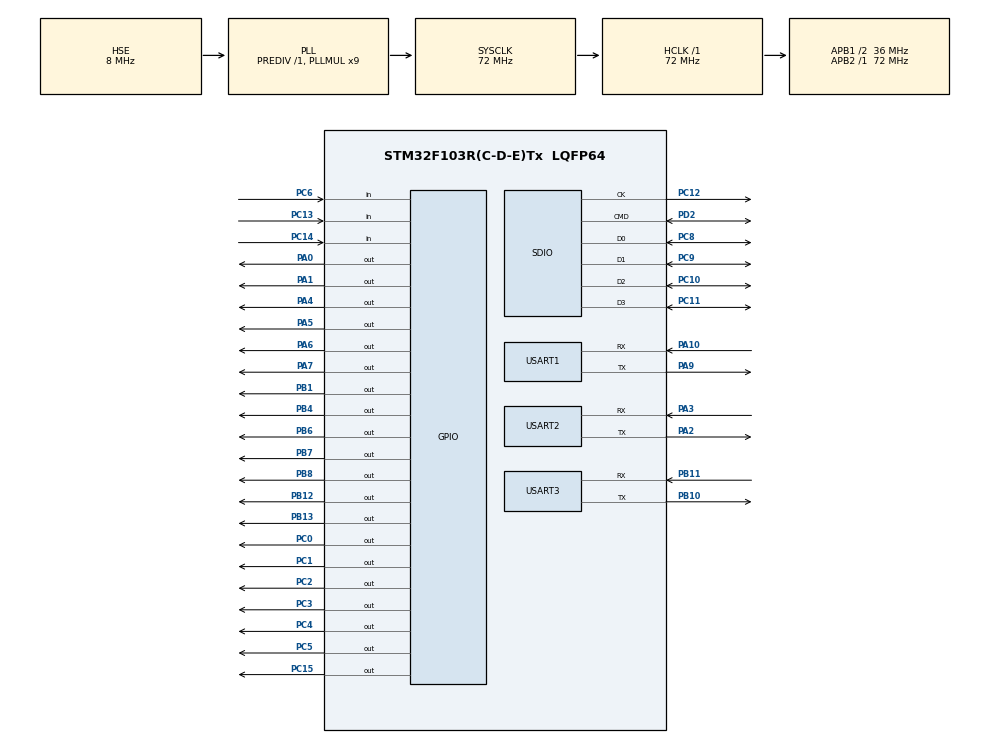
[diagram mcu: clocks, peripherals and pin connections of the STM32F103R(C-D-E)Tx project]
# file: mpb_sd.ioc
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Dma.Request0=SDIO
Dma.SDIO.0.Direction=DMA_PERIPH_TO_MEMORY
Dma.SDIO.0.Instance=DMA2_Channel4
Dma.SDIO.0.MemDataAlignment=DMA_MDATAALIGN_WORD
Dma.SDIO.0.MemInc=DMA_MINC_ENABLE
Dma.SDIO.0.Mode=DMA_CIRCULAR
Dma.SDIO.0.PeriphDataAlignment=DMA_PDATAALIGN_WORD
Dma.SDIO.0.PeriphInc=DMA_PINC_DISABLE
Dma.SDIO.0.Priority=DMA_PRIORITY_LOW
FATFS.BSP.number=1
FATFS._CODE_PAGE=936
FATFS._USE_LFN=2
FATFS0.BSP.STBoard=false
FATFS0.BSP.api=Unknown
FATFS0.BSP.i2caddr=0
FATFS0.BSP.instance=PC6
FATFS0.BSP.ip=GPIO
FATFS0.BSP.mode=Input
FATFS0.BSP.name=Detect_SDIO
FATFS0.BSP.solution=PC6
Mcu.Family=STM32F1
Mcu.Name=STM32F103R(C-D-E)Tx
Mcu.Package=LQFP64
NVIC.DMA2_Channel4_5_IRQn=true\:2\:0\:true\:false\:true\:false\:true
NVIC.PriorityGroup=NVIC_PRIORITYGROUP_4
NVIC.SDIO_IRQn=true\:0\:0\:false\:false\:true\:true\:true
PA0-WKUP.GPIO_Speed=GPIO_SPEED_FREQ_HIGH
PA0-WKUP.PinState=GPIO_PIN_RESET
PA0-WKUP.Signal=GPIO_Output
PA1.GPIO_Speed=GPIO_SPEED_FREQ_HIGH
PA1.Signal=GPIO_Output
PA10.Mode=Asynchronous
PA10.Signal=USART1_RX
PA13.Mode=Serial_Wire
PA13.Signal=SYS_JTMS-SWDIO
PA14.Mode=Serial_Wire
PA14.Signal=SYS_JTCK-SWCLK
PA2.Mode=Asynchronous
PA2.Signal=USART2_TX
PA3.Mode=Asynchronous
PA3.Signal=USART2_RX
PA4.GPIO_Speed=GPIO_SPEED_FREQ_HIGH
PA4.Signal=GPIO_Output
PA5.GPIO_Speed=GPIO_SPEED_FREQ_HIGH
PA5.Signal=GPIO_Output
PA6.GPIO_Speed=GPIO_SPEED_FREQ_HIGH
PA6.Signal=GPIO_Output
PA7.GPIO_Speed=GPIO_SPEED_FREQ_HIGH
PA7.Signal=GPIO_Output
PA9.Mode=Asynchronous
PA9.Signal=USART1_TX
PB1.Signal=GPIO_Output
PB10.Mode=Asynchronous
PB10.Signal=USART3_TX
PB11.Mode=Asynchronous
PB11.Signal=USART3_RX
PB12.Signal=GPIO_Output
PB13.Signal=GPIO_Output
PB4.Signal=GPIO_Output
PB6.Signal=GPIO_Output
PB7.Signal=GPIO_Output
PB8.GPIO_Speed=GPIO_SPEED_FREQ_HIGH
PB8.PinState=GPIO_PIN_RESET
PB8.Signal=GPIO_Output
PC0.Signal=GPIO_Output
PC1.Signal=GPIO_Output
PC10.Mode=SD_4_bits_Wide_bus
PC10.Signal=SDIO_D2
PC11.Mode=SD_4_bits_Wide_bus
PC11.Signal=SDIO_D3
PC12.Mode=SD_4_bits_Wide_bus
PC12.Signal=SDIO_CK
PC13-TAMPER-RTC.Signal=GPIO_Input
PC14-OSC32_IN.Signal=GPIO_Input
PC15-OSC32_OUT.GPIO_Speed=GPIO_SPEED_FREQ_MEDIUM
PC15-OSC32_OUT.PinState=GPIO_PIN_SET
PC15-OSC32_OUT.Signal=GPIO_Output
PC2.Signal=GPIO_Output
PC3.PinState=GPIO_PIN_SET
PC3.Signal=GPIO_Output
PC4.PinState=GPIO_PIN_SET
PC4.Signal=GPIO_Output
PC5.PinState=GPIO_PIN_SET
PC5.Signal=GPIO_Output
PC6.GPIO_PuPd=GPIO_PULLUP
PC6.Signal=GPIO_Input
PC8.Mode=SD_4_bits_Wide_bus
PC8.Signal=SDIO_D0
PC9.Mode=SD_4_bits_Wide_bus
PC9.Signal=SDIO_D1
PD0-OSC_IN.Mode=HSE-External-Oscillator
PD0-OSC_IN.Signal=RCC_OSC_IN
PD1-OSC_OUT.Mode=HSE-External-Oscillator
PD1-OSC_OUT.Signal=RCC_OSC_OUT
PD2.Mode=SD_4_bits_Wide_bus
PD2.Signal=SDIO_CMD
ProjectManager.HeapSize=0x200
ProjectManager.StackSize=0x1000
ProjectManager.TargetToolchain=MDK-ARM V5.32
RCC.AHBFreq_Value=72000000
RCC.APB1CLKDivider=RCC_HCLK_DIV2
RCC.APB1Freq_Value=36000000
RCC.APB1TimFreq_Value=72000000
RCC.APB2Freq_Value=72000000
RCC.APB2TimFreq_Value=72000000
RCC.HCLKFreq_Value=72000000
RCC.PLLMUL=RCC_PLL_MUL9
RCC.PLLSourceVirtual=RCC_PLLSOURCE_HSE
RCC.SYSCLKFreq_VALUE=72000000
RCC.SYSCLKSource=RCC_SYSCLKSOURCE_PLLCLK
RCC.TimSys_Div=SYSTICK_CLKSOURCE_HCLK_DIV8
RCC.USBFreq_Value=72000000
SDIO.ClockDiv=6
USART1.VirtualMode=VM_ASYNC
USART1.WordLength=WORDLENGTH_8B
USART2.VirtualMode=VM_ASYNC
USART2.WordLength=WORDLENGTH_8B
USART3.VirtualMode=VM_ASYNC
USART3.WordLength=WORDLENGTH_8B
VP_FATFS_VS_SDIO.Mode=SDIO
board=custom

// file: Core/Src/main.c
/* USER CODE BEGIN Header */
/**
  ******************************************************************************
  * @file           : A
  * @brief          : Main program body
  ******************************************************************************
  * @attention
  *
  * Copyright (c) 2022 STMicroelectronics.
  * All rights reserved.
  *
  * This software is licensed under terms that can be found in the LICENSE file
  * in the root directory of this software component.
  * If no LICENSE file comes with this software, it is provided AS-IS.
  *
  ******************************************************************************
  */
/* USER CODE END Header */
#include "main.h"
#include "dma.h"
#include "fatfs.h"
#include "sdio.h"
#include "usart.h"
#include "gpio.h"

/* USER CODE BEGIN Includes */
#include "delay.h"
#include "flash.h"
#include "sd.h"
#include "key.h"
#include "switch.h"
#include "string.h"
/* USER CODE END Includes */

/* USER CODE BEGIN PM */
#define MAX_GROUP_NUM                   (3)
#define MAX_TARGET_NUM                  (8)
/* USER CODE END PM */

/* USER CODE BEGIN PV */
uint8_t buffer[4096]={0};

/* USER CODE END PV */

void SystemClock_Config(void);

int main(void)
{
  /* USER CODE BEGIN 1 */
    int ret;
    int i, j;
    int handshake_ok = 0;
    uint32_t len;
    uint32_t result = 0;
    uint32_t check_sum = 0;
  /* USER CODE END 1 */

  /* MCU Configuration--------------------------------------------------------*/

  /* Reset of all peripherals, Initializes the Flash interface and the Systick. */
  HAL_Init();

  /* Configure the system clock */
  SystemClock_Config();

  /* Initialize all configured peripherals */
  MX_GPIO_Init();
  MX_SDIO_SD_Init();
  MX_DMA_Init();
  MX_FATFS_Init();
  MX_USART1_UART_Init();
  MX_USART2_UART_Init();
  MX_USART3_UART_Init();
  /* USER CODE BEGIN 2 */
    delay_init();
    flash_init();

    ret = read_sd_data(buffer, &len);
    if (ret)
        goto exit;

    len = (len + 3) & ~3;
    for (j = 0; j < len; j++)
        check_sum += buffer[j];

  /* USER CODE END 2 */
  /* Infinite loop */
  while (1)
  {
    /* USER CODE BEGIN 3 */
    ret = 0;
    while (!ret) {
        ret = check_key_pressed();
        delay_ms(5);
    }
    if (!hand_shake())
        handshake_ok = 1;
    else
        handshake_ok = 0;

    if (handshake_ok) {
        /* program flash in turn */
        result = 0;
        for (i = 0; i < MAX_GROUP_NUM; i++) {
            for (j = 0; j < MAX_TARGET_NUM; j++) {
                disable_clk_data_output();
                choose_target(i, j);
                delay_ms(500);
                enable_clk_data_output();
                ret = program_verify_flash((uint32_t *)buffer, len, check_sum);
                if (ret)
                    result |= (1 << (23 - i * 8 - j));
                upload_result(result);
            }
        }

    }
  }

exit:
  return 0;
  /* USER CODE END 3 */
}

void SystemClock_Config(void)
{
  RCC_OscInitTypeDef RCC_OscInitStruct = {0};
  RCC_ClkInitTypeDef RCC_ClkInitStruct = {0};

  /** Initializes the RCC Oscillators according to the specified parameters
  * in the RCC_OscInitTypeDef structure.
  */
  RCC_OscInitStruct.OscillatorType = RCC_OSCILLATORTYPE_HSE;
  RCC_OscInitStruct.HSEState = RCC_HSE_ON;
  RCC_OscInitStruct.HSEPredivValue = RCC_HSE_PREDIV_DIV1;
  RCC_OscInitStruct.HSIState = RCC_HSI_ON;
  RCC_OscInitStruct.PLL.PLLState = RCC_PLL_ON;
  RCC_OscInitStruct.PLL.PLLSource = RCC_PLLSOURCE_HSE;
  RCC_OscInitStruct.PLL.PLLMUL = RCC_PLL_MUL9;
  if (HAL_RCC_OscConfig(&RCC_OscInitStruct) != HAL_OK)
  {
    Error_Handler();
  }
  /** Initializes the CPU, AHB and APB buses clocks
  */
  RCC_ClkInitStruct.ClockType = RCC_CLOCKTYPE_HCLK|RCC_CLOCKTYPE_SYSCLK
                              |RCC_CLOCKTYPE_PCLK1|RCC_CLOCKTYPE_PCLK2;
  RCC_ClkInitStruct.SYSCLKSource = RCC_SYSCLKSOURCE_PLLCLK;
  RCC_ClkInitStruct.AHBCLKDivider = RCC_SYSCLK_DIV1;
  RCC_ClkInitStruct.APB1CLKDivider = RCC_HCLK_DIV2;
  RCC_ClkInitStruct.APB2CLKDivider = RCC_HCLK_DIV1;

  if (HAL_RCC_ClockConfig(&RCC_ClkInitStruct, FLASH_LATENCY_2) != HAL_OK)
  {
    Error_Handler();
  }
}

void Error_Handler(void)
{
  __disable_irq();
  while (1)
  {
  }
}
